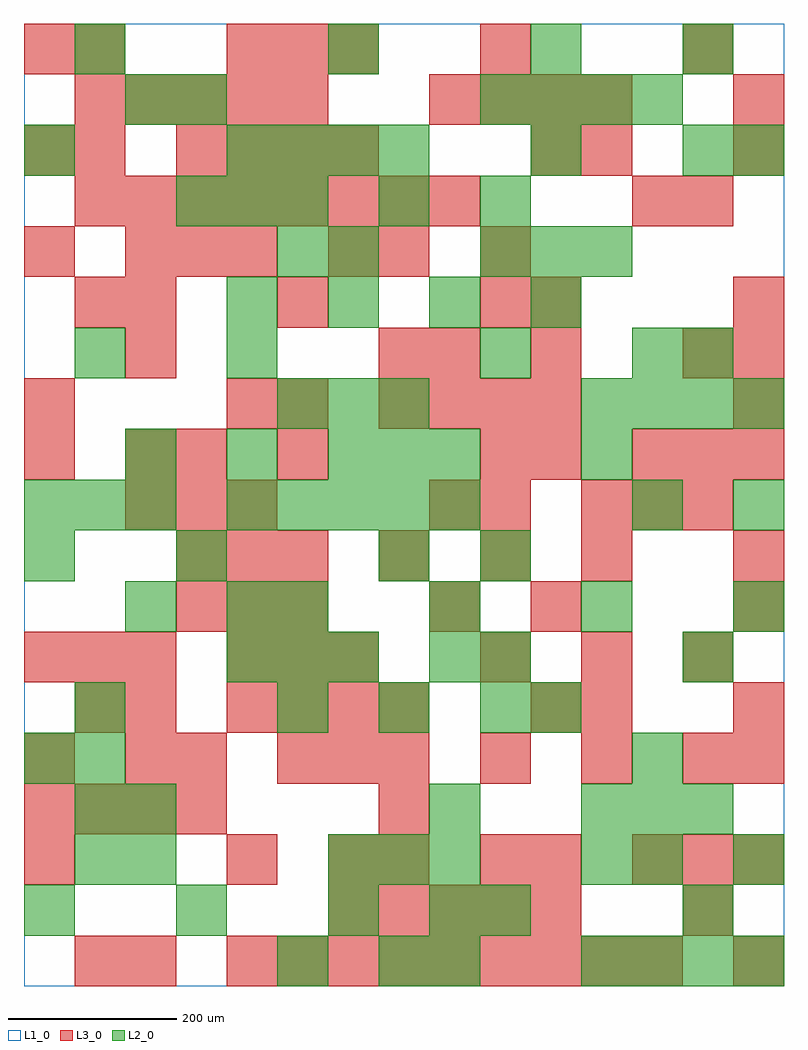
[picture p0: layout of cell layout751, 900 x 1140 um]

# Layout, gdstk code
import gdstk
lib = gdstk.Library(unit=1e-6, precision=1e-09)
def R(c, l, rs):  # rectangles x0, y0, x1, y1
    for r in rs: c.add(gdstk.rectangle(r[:2], r[2:], *l))
def A(c, l, x, y, w, h, nx, ny, dx, dy):  # array of equal rectangles
    R(c, l, [(x+i*dx, y+j*dy, x+i*dx+w, y+j*dy+h) for i in range(nx) for j in range(ny)])
L1_0 = (1, 0)
L2_0 = (2, 0)
L3_0 = (3, 0)

layout751 = lib.new_cell('layout751')
R(layout751, L1_0, [(0,0,900,1140)])
A(layout751, L2_0, 660, 0, 60, 60, 4, 2, 60, 660)
A(layout751, L2_0, 0, 60, 60, 60, 3, 1, 180, 0)
A(layout751, L2_0, 60, 120, 60, 60, 1, 4, 0, 60)
A(layout751, L2_0, 360, 120, 60, 60, 3, 1, 60, 0)
A(layout751, L2_0, 840, 120, 60, 60, 1, 3, 0, 420)
A(layout751, L2_0, 660, 180, 60, 60, 3, 1, 60, 0)
A(layout751, L2_0, 300, 300, 60, 60, 3, 1, 120, 0)
A(layout751, L2_0, 240, 360, 60, 60, 3, 1, 60, 0)
A(layout751, L2_0, 300, 420, 60, 60, 4, 1, 180, 0)
A(layout751, L2_0, 0, 540, 60, 60, 3, 1, 60, 0)
A(layout751, L2_0, 240, 540, 60, 60, 5, 1, 60, 0)
A(layout751, L2_0, 120, 600, 60, 60, 3, 1, 120, 0)
A(layout751, L2_0, 300, 660, 60, 60, 3, 1, 60, 0)
A(layout751, L2_0, 240, 780, 60, 60, 4, 1, 120, 0)
A(layout751, L2_0, 540, 840, 60, 60, 3, 1, 60, 0)
A(layout751, L2_0, 180, 900, 60, 60, 3, 1, 60, 0)
A(layout751, L2_0, 240, 960, 60, 60, 4, 1, 60, 0)
A(layout751, L2_0, 540, 1020, 60, 60, 4, 1, 60, 0)
R(layout751, L2_0, [(300,0,360,60), (420,0,480,60), (480,0,540,60), (480,60,540,120), (540,60,600,120), (780,60,840,120), (120,120,180,180), (660,120,720,180), (720,120,780,180), (120,180,180,240), (480,180,540,240), (0,240,60,300), (720,240,780,300), (600,300,660,360), (480,360,540,420), (540,360,600,420), (780,360,840,420), (120,420,180,480), (240,420,300,480), (0,480,60,540), (180,480,240,540), (420,480,480,540), (540,480,600,540), (720,540,780,600), (420,600,480,660), (480,600,540,660), (660,600,720,660), (60,720,120,780), (240,720,300,780), (540,720,600,780), (720,720,780,780), (780,720,840,780), (300,840,360,900), (360,840,420,900), (420,900,480,960), (540,900,600,960), (0,960,60,1020), (600,960,660,1020), (780,960,840,1020), (120,1020,180,1080), (180,1020,240,1080), (60,1080,120,1140), (360,1080,420,1140), (600,1080,660,1140), (780,1080,840,1140)])
A(layout751, L3_0, 240, 0, 60, 60, 9, 1, 60, 0)
A(layout751, L3_0, 360, 60, 60, 60, 5, 1, 60, 0)
A(layout751, L3_0, 720, 120, 60, 60, 3, 2, 60, 480)
A(layout751, L3_0, 0, 180, 60, 60, 4, 1, 60, 0)
A(layout751, L3_0, 300, 240, 60, 60, 3, 1, 60, 0)
A(layout751, L3_0, 540, 240, 60, 60, 3, 2, 120, 120)
A(layout751, L3_0, 240, 300, 60, 60, 4, 1, 60, 0)
A(layout751, L3_0, 0, 360, 60, 60, 3, 1, 60, 0)
A(layout751, L3_0, 240, 360, 60, 60, 3, 2, 60, 720)
A(layout751, L3_0, 180, 420, 60, 60, 3, 2, 60, 60)
A(layout751, L3_0, 420, 480, 60, 60, 3, 1, 120, 0)
A(layout751, L3_0, 120, 540, 60, 60, 3, 2, 60, 300)
A(layout751, L3_0, 660, 540, 60, 60, 3, 1, 60, 0)
A(layout751, L3_0, 420, 660, 60, 60, 4, 1, 60, 0)
A(layout751, L3_0, 840, 660, 60, 60, 1, 3, 0, 60)
A(layout751, L3_0, 780, 720, 60, 60, 1, 3, 0, 180)
A(layout751, L3_0, 0, 840, 60, 60, 1, 3, 0, 120)
A(layout751, L3_0, 60, 900, 60, 60, 8, 1, 60, 0)
A(layout751, L3_0, 180, 960, 60, 60, 4, 1, 60, 0)
A(layout751, L3_0, 60, 1020, 60, 60, 5, 1, 60, 0)
A(layout751, L3_0, 480, 1020, 60, 60, 4, 1, 60, 0)
R(layout751, L3_0, [(60,0,120,60), (120,0,180,60), (840,0,900,60), (780,60,840,120), (0,120,60,180), (240,120,300,180), (360,120,420,180), (420,120,480,180), (540,120,600,180), (600,120,660,180), (420,180,480,240), (0,240,60,300), (120,240,180,300), (180,240,240,300), (840,240,900,300), (60,300,120,360), (120,300,180,360), (600,300,660,360), (660,300,720,360), (840,300,900,360), (480,420,540,480), (600,420,660,480), (840,420,900,480), (840,480,900,540), (480,540,540,600), (540,540,600,600), (0,600,60,660), (120,600,180,660), (180,600,240,660), (300,600,360,660), (540,600,600,660), (600,600,660,660), (0,660,60,720), (240,660,300,720), (300,660,360,720), (120,720,180,780), (420,720,480,780), (480,720,540,780), (600,720,660,780), (60,780,120,840), (120,780,180,840), (300,780,360,840), (540,780,600,840), (600,780,660,840), (360,840,420,900), (420,840,480,900), (540,840,600,900), (720,900,780,960), (60,960,120,1020), (600,960,660,1020), (660,960,720,1020), (840,960,900,1020), (840,1020,900,1080), (60,1080,120,1140), (540,1080,600,1140)])

lib.write_gds('layout751.gds')
